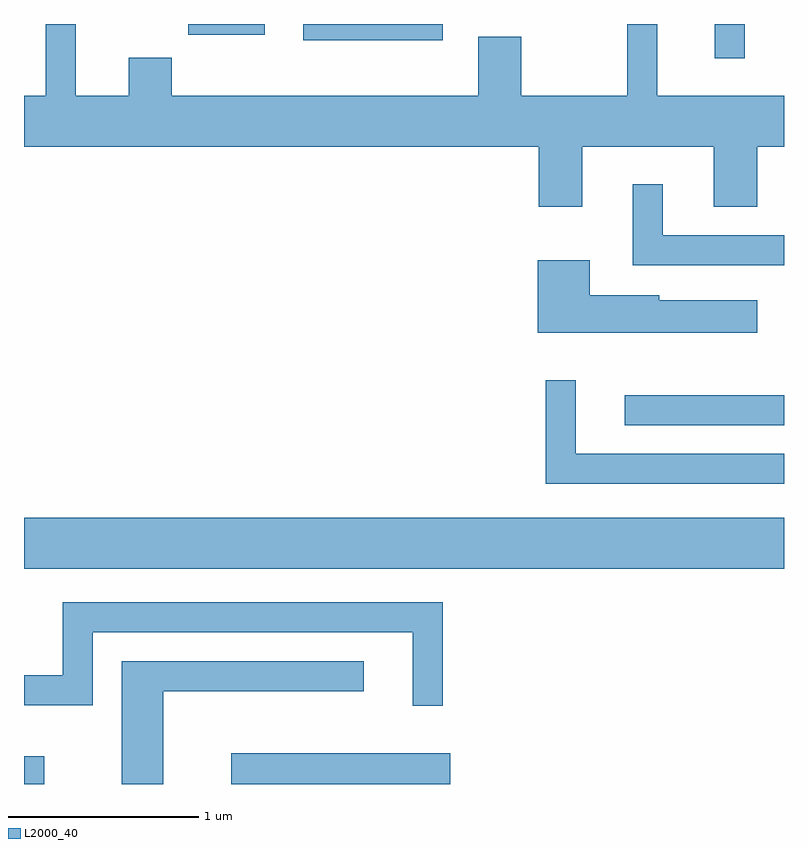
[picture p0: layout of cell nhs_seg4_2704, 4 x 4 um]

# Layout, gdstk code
import gdstk
lib = gdstk.Library(unit=1e-6, precision=1e-09)
def R(c, l, rs):  # rectangles x0, y0, x1, y1
    for r in rs: c.add(gdstk.rectangle(r[:2], r[2:], *l))
def P(c, l, *ps):  # polygons
    for p in ps: c.add(gdstk.Polygon(p, *l))
L2000_40 = (2000, 40)

nhs_seg4_2704 = lib.new_cell('nhs_seg4_2704')
R(nhs_seg4_2704, L2000_40, [(263.611,1357.982,263.718,1358.129), (264.701,1357.982,265.854,1358.144), (263.611,1359.116,267.611,1359.384), (266.773,1359.871,267.611,1360.029), (267.246,1361.803,267.404,1361.982), (265.081,1361.896,265.814,1361.982), (264.476,1361.926,264.879,1361.982)])
P(nhs_seg4_2704, L2000_40, [(266.549,1361.336),(267.241,1361.336),(267.241,1361.021),(267.469,1361.021),(267.469,1361.336),(267.611,1361.336),(267.611,1361.604),(266.944,1361.604),(266.944,1361.982),(266.786,1361.982),(266.786,1361.604),(266.229,1361.604),(266.229,1361.914),(266.001,1361.914),(266.001,1361.604),(264.389,1361.604),(264.389,1361.804),(264.161,1361.804),(264.161,1361.604),(263.884,1361.604),(263.884,1361.982),(263.726,1361.982),(263.726,1361.604),(263.611,1361.604),(263.611,1361.336),(266.321,1361.336),(266.321,1361.021),(266.549,1361.021)],
  [(267.611,1360.869),(266.974,1360.869),(266.974,1361.138),(266.816,1361.138),(266.816,1360.711),(267.611,1360.711)],
  [(267.469,1360.529),(266.954,1360.529),(266.954,1360.554),(266.589,1360.554),(266.589,1360.739),(266.316,1360.739),(266.316,1360.356),(267.469,1360.356)],
  [(267.611,1359.719),(266.514,1359.719),(266.514,1360.108),(266.356,1360.108),(266.356,1359.561),(267.611,1359.561)],
  [(265.814,1358.939),(263.816,1358.939),(263.816,1358.554),(263.611,1358.554),(263.611,1358.396),(263.974,1358.396),(263.974,1358.781),(265.656,1358.781),(265.656,1358.393),(265.814,1358.393)],
  [(264.344,1358.471),(265.398,1358.471),(265.398,1358.629),(264.126,1358.629),(264.126,1357.982),(264.344,1357.982)])

lib.write_gds('nhs_seg4_2704.gds')
